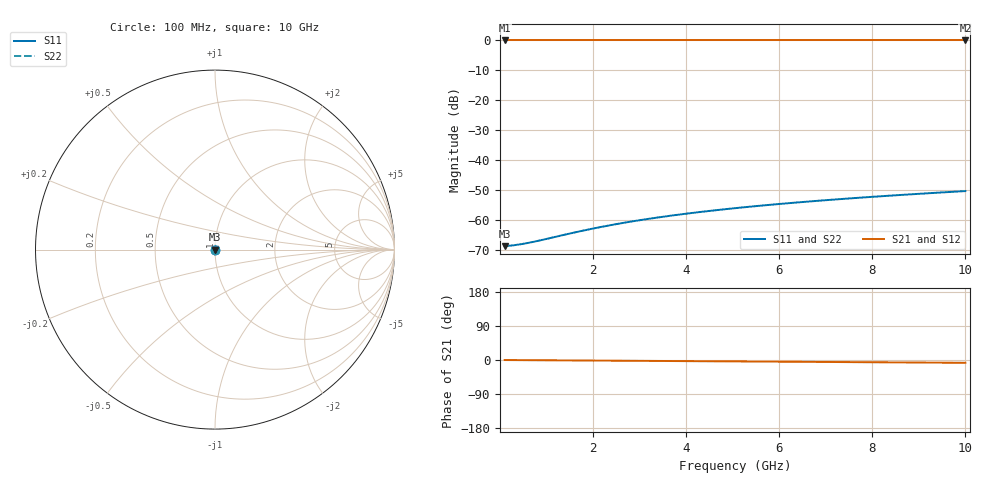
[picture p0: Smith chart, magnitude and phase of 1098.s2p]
# Hz S RI R 50.00
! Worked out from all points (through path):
!   100 points, 100 MHz to 10 GHz, reference 50 ohm
!   highest |S21| = 0.00 dB at 100 MHz (marker M1); lowest = 0.0 dB at 10 GHz (marker M2)
!   group delay of S21, straight-line fit = 2.06 ps
!   lowest |S11| = -68.8 dB at 100 MHz (marker M3), VSWR 1.00, Z = 50 + j0.00304 ohm
!   |S11| at or under -10 dB: start of sweep to end of sweep
!   |S22| runs from -68.8 to -50.4 dB; largest |S21 - S12| = 0
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1e8  0.000361 3.04e-05  0.9996 -0.00128  0.9996 -0.00128  0.000361 3.04e-05
2e8  0.000363 6.07e-05  0.9996 -0.00257  0.9996 -0.00257  0.000363 6.07e-05
3e8  0.000365 9.11e-05  0.9996 -0.00385  0.9996 -0.00385  0.000365 9.11e-05
4e8  0.000366 0.000121  0.9996 -0.00514  0.9996 -0.00514  0.000366 0.000121
6e8  0.000368 0.000182  0.9996 -0.00771  0.9996 -0.00771  0.000368 0.000182
9e8  0.000371 0.000273  0.9996 -0.0116  0.9996 -0.0116  0.000371 0.000273
1.5e9  0.000377 0.000453  0.9994 -0.0193  0.9994 -0.0193  0.000377 0.000453
1.8e9  0.000381 0.000543  0.9993 -0.0231  0.9993 -0.0231  0.000381 0.000543
2.2e9  0.000388 0.000662  0.9992 -0.0283  0.9992 -0.0283  0.000388 0.000662
2.6e9  0.000395 0.000781  0.999 -0.0334  0.999 -0.0334  0.000395 0.000781
3e9  0.000403 0.000899  0.9989 -0.0386  0.9989 -0.0386  0.000403 0.000899
3.4e9  0.000413 0.00102  0.9986 -0.0437  0.9986 -0.0437  0.000413 0.00102
3.8e9  0.000423 0.00113  0.9984 -0.0489  0.9984 -0.0489  0.000423 0.00113
4.2e9  0.000435 0.00125  0.9981 -0.054  0.9981 -0.054  0.000435 0.00125
4.6e9  0.000448 0.00137  0.9978 -0.0592  0.9978 -0.0592  0.000448 0.00137
5.1e9  0.000466 0.00151  0.9974 -0.0656  0.9974 -0.0656  0.000466 0.00151
5.9e9  0.000498 0.00174  0.9967 -0.076  0.9967 -0.076  0.000498 0.00174
6.7e9  0.000536 0.00197  0.9958 -0.0863  0.9958 -0.0863  0.000536 0.00197
7.5e9  0.000578 0.0022  0.9949 -0.0966  0.9949 -0.0966  0.000578 0.0022
8.4e9  0.000632 0.00246  0.9937 -0.1082  0.9937 -0.1082  0.000632 0.00246
9.2e9  0.000685 0.0027  0.9925 -0.1186  0.9925 -0.1186  0.000685 0.0027
1e10  0.000744 0.00293  0.9912 -0.1289  0.9912 -0.1289  0.000744 0.00293
